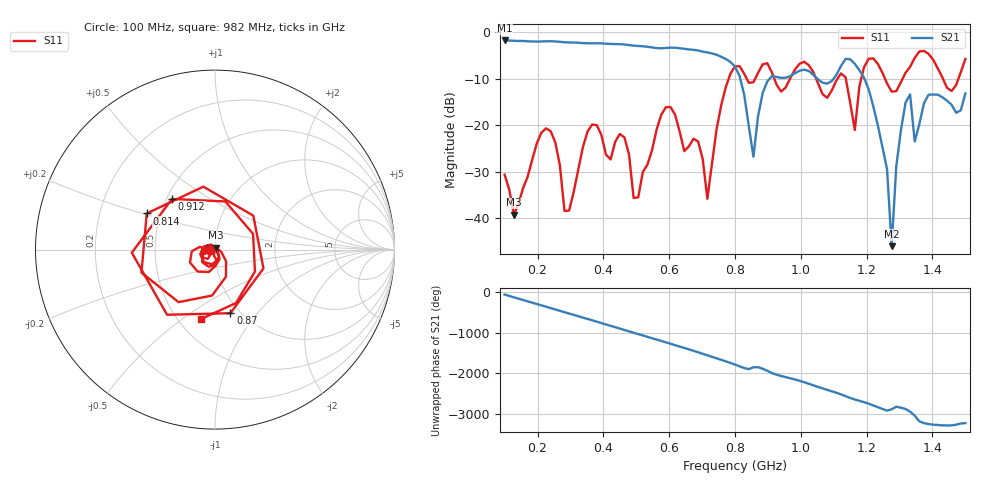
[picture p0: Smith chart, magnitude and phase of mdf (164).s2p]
! NanoVNA-App
! Date: 2025-09-26 09:41:01
! Start: 100MHz Stop: 1,5GHz Points: 101
! S-Parameter data: F S11 S21 S12 S22
# Hz S RI R 50
!  Frequency  S11_Real  S11_Imag  S21_Real  S21_Imag  S12_Real  S12_Imag  S22_Real  S22_Imag
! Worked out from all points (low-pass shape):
!   101 points, 100 MHz to 1.5 GHz, reference 50 ohm
!   highest |S21| = -1.79 dB at 100 MHz (marker M1); lowest = -46.0 dB at 1.276 GHz (marker M2)
!   |S21| within 3 dB of the highest: start of sweep to 740.5 MHz
!   lowest |S11| = -39.2 dB at 128 MHz (marker M3), VSWR 1.02, Z = 50.3 + j1.06 ohm
!   |S11| at or under -10 dB: start of sweep to 780.9 MHz; 1.046 GHz to 1.112 GHz (65.32 MHz wide, 6.05 % of centre); 1.256 GHz to 1.309 GHz (53.63 MHz wide, 4.18 % of centre) (the widest 3 of 7)
!   S12 and S22 are empty: the file has one direction only
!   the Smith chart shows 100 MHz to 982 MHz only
!   S11 on the Smith chart (normalised r, x): 100 MHz: 0.94, -0.01; 814 MHz: 0.42, +0.21; 870 MHz: 0.90, -0.74; 912 MHz: 0.53, +0.35; 982 MHz: 0.64, -0.59
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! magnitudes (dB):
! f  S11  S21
! 100 MHz  -30.6  -1.8
! 128 MHz  -39.2  -1.9
! 212 MHz  -21.6  -2.0
! 282 MHz  -38.4  -2.2
! 338 MHz  -24.7  -2.4
! 464 MHz  -22.6  -2.7
! 506 MHz  -35.5  -3.0
! 576 MHz  -17.8  -3.5
! 716 MHz  -35.8  -4.4
! 800 MHz  -7.3  -7.4
! 814 MHz  -7.3  -9.4
! 856 MHz  -10.8  -26.8
! 870 MHz  -8.8  -18.1
! 912 MHz  -8.6  -9.5
! 982 MHz  -8.1  -8.8
! 1.038 GHz  -8.6  -9.2
! 1.164 GHz  -21.0  -6.8
! 1.192 GHz  -7.5  -9.8
! 1.262 GHz  -11.0  -29.5
! 1.276 GHz  -12.8  -46.0
! 1.318 GHz  -8.8  -15.2
! 1.5 GHz  -5.8  -13.2
